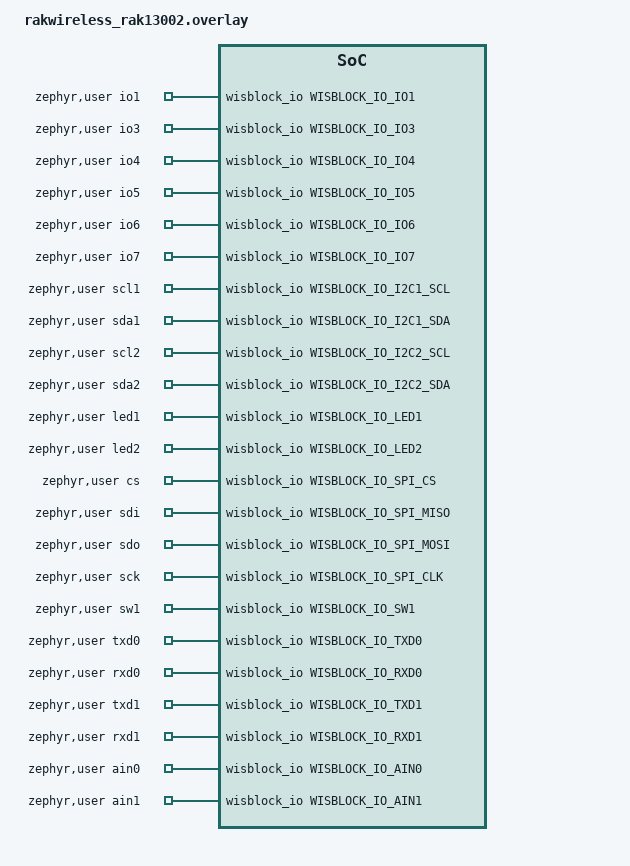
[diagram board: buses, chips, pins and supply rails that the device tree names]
/*
 * SPDX-License-Identifier: Apache-2.0
 * Copyright (c) 2026 RAKwireless Technology Limited
 */

#include <zephyr/dt-bindings/gpio/wisblock-io-slot.h>

/ {
	zephyr,user {
		/* J2 GPIOs */
		io1-gpios = <&wisblock_io WISBLOCK_IO_IO1 0>;
		io3-gpios = <&wisblock_io WISBLOCK_IO_IO3 0>;
		io4-gpios = <&wisblock_io WISBLOCK_IO_IO4 0>;
		io5-gpios = <&wisblock_io WISBLOCK_IO_IO5 0>;
		io6-gpios = <&wisblock_io WISBLOCK_IO_IO6 0>;
		io7-gpios = <&wisblock_io WISBLOCK_IO_IO7 0>;

		/* J3 GPIOs */
		scl1-gpios = <&wisblock_io WISBLOCK_IO_I2C1_SCL 0>;
		sda1-gpios = <&wisblock_io WISBLOCK_IO_I2C1_SDA 0>;
		scl2-gpios = <&wisblock_io WISBLOCK_IO_I2C2_SCL 0>;
		sda2-gpios = <&wisblock_io WISBLOCK_IO_I2C2_SDA 0>;
		led1-gpios = <&wisblock_io WISBLOCK_IO_LED1 0>;
		led2-gpios = <&wisblock_io WISBLOCK_IO_LED2 0>;

		/* J4 GPIOs */
		cs-gpios = <&wisblock_io WISBLOCK_IO_SPI_CS 0>;
		sdi-gpios = <&wisblock_io WISBLOCK_IO_SPI_MISO 0>;
		sdo-gpios = <&wisblock_io WISBLOCK_IO_SPI_MOSI 0>;
		sck-gpios = <&wisblock_io WISBLOCK_IO_SPI_CLK 0>;
		/* RST */
		sw1-gpios = <&wisblock_io WISBLOCK_IO_SW1 0>;

		/* J5 GPIOs */
		txd0-gpios = <&wisblock_io WISBLOCK_IO_TXD0 0>;
		rxd0-gpios = <&wisblock_io WISBLOCK_IO_RXD0 0>;
		txd1-gpios = <&wisblock_io WISBLOCK_IO_TXD1 0>;
		rxd1-gpios = <&wisblock_io WISBLOCK_IO_RXD1 0>;
		ain0-gpios = <&wisblock_io WISBLOCK_IO_AIN0 0>;
		ain1-gpios = <&wisblock_io WISBLOCK_IO_AIN1 0>;
	};
};
